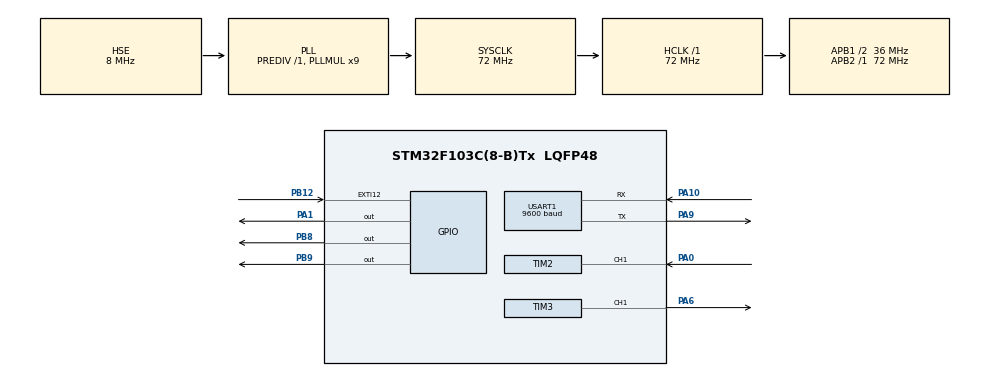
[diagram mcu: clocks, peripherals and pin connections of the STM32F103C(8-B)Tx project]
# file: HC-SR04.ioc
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Mcu.Family=STM32F1
Mcu.Name=STM32F103C(8-B)Tx
Mcu.Package=LQFP48
NVIC.EXTI15_10_IRQn=true\:0\:0\:false\:false\:true\:true\:true\:true
NVIC.PriorityGroup=NVIC_PRIORITYGROUP_4
NVIC.TIM2_IRQn=true\:0\:0\:false\:false\:true\:true\:true\:true
PA0-WKUP.Signal=S_TIM2_CH1_ETR
PA1.GPIO_ModeDefaultOutputPP=GPIO_MODE_OUTPUT_PP
PA1.Signal=GPIO_Output
PA10.Mode=Asynchronous
PA10.Signal=USART1_RX
PA13.Mode=Serial_Wire
PA13.Signal=SYS_JTMS-SWDIO
PA14.Mode=Serial_Wire
PA14.Signal=SYS_JTCK-SWCLK
PA6.Signal=S_TIM3_CH1
PA9.Mode=Asynchronous
PA9.Signal=USART1_TX
PB12.GPIO_ModeDefaultEXTI=GPIO_MODE_IT_RISING_FALLING
PB12.GPIO_PuPd=GPIO_PULLDOWN
PB12.Signal=GPXTI12
PB8.GPIO_ModeDefaultOutputPP=GPIO_MODE_OUTPUT_OD
PB8.GPIO_PuPd=GPIO_NOPULL
PB8.Signal=GPIO_Output
PB9.GPIO_ModeDefaultOutputPP=GPIO_MODE_OUTPUT_OD
PB9.GPIO_PuPd=GPIO_NOPULL
PB9.Signal=GPIO_Output
PD0-OSC_IN.Mode=HSE-External-Oscillator
PD0-OSC_IN.Signal=RCC_OSC_IN
PD1-OSC_OUT.Mode=HSE-External-Oscillator
PD1-OSC_OUT.Signal=RCC_OSC_OUT
ProjectManager.HeapSize=0x200
ProjectManager.StackSize=0x400
ProjectManager.TargetToolchain=MDK-ARM V5.32
RCC.AHBFreq_Value=72000000
RCC.APB1CLKDivider=RCC_HCLK_DIV2
RCC.APB1Freq_Value=36000000
RCC.APB1TimFreq_Value=72000000
RCC.APB2Freq_Value=72000000
RCC.APB2TimFreq_Value=72000000
RCC.HCLKFreq_Value=72000000
RCC.PLLMUL=RCC_PLL_MUL9
RCC.PLLSourceVirtual=RCC_PLLSOURCE_HSE
RCC.SYSCLKFreq_VALUE=72000000
RCC.SYSCLKSource=RCC_SYSCLKSOURCE_PLLCLK
RCC.USBFreq_Value=72000000
SH.S_TIM2_CH1_ETR.0=TIM2_CH1,Input_Capture1_from_TI1
SH.S_TIM3_CH1.0=TIM3_CH1,PWM Generation1 CH1
TIM2.Channel-Input_Capture1_from_TI1=TIM_CHANNEL_1
TIM2.Channel-Input_Capture2_from_TI1_63=TIM_CHANNEL_2
TIM2.ICPolarity_CH2=TIM_INPUTCHANNELPOLARITY_FALLING
TIM2.Period=65535
TIM2.Prescaler=72-1
TIM3.Channel-PWM\ Generation1\ CH1=TIM_CHANNEL_1
TIM3.Period=120-1
TIM3.Prescaler=12000-1
USART1.BaudRate=9600
USART1.VirtualMode=VM_ASYNC
VP_TIM2_VS_ClockSourceINT.Mode=Internal
VP_TIM2_VS_indirect_ch1.Mode=Input_Capture2_from_TI1_63
VP_TIM3_VS_ClockSourceINT.Mode=Internal
board=custom

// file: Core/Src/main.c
/* USER CODE BEGIN Header */
/**
  ******************************************************************************
  * @file           : main.c
  * @brief          : Main program body
  ******************************************************************************
  * @attention
  *
  * Copyright (c) 2024 STMicroelectronics.
  * All rights reserved.
  *
  * This software is licensed under terms that can be found in the LICENSE file
  * in the root directory of this software component.
  * If no LICENSE file comes with this software, it is provided AS-IS.
  *
  ******************************************************************************
  */
/* USER CODE END Header */
#include "main.h"
#include "tim.h"
#include "usart.h"
#include "gpio.h"

/* USER CODE BEGIN Includes */
#include "HC_SR04.h"
#include "SG90.h"
#include "Key.h"
#include "OLED.h"
#include "OLED_Data.h"

/* USER CODE END Includes */

void SystemClock_Config(void);

int main(void)
{

  /* MCU Configuration--------------------------------------------------------*/

  /* Reset of all peripherals, Initializes the Flash interface and the Systick. */
  HAL_Init();

  /* Configure the system clock */
  SystemClock_Config();

  /* Initialize all configured peripherals */
  MX_GPIO_Init();
  MX_TIM2_Init();
  MX_USART1_UART_Init();
  MX_TIM3_Init();
  /* USER CODE BEGIN 2 */
	OLED_Init();
	HAL_TIM_Base_Start(&htim2);
	HAL_TIM_IC_Start_IT(&htim2, TIM_CHANNEL_1);
	HAL_TIM_IC_Start_IT(&htim2, TIM_CHANNEL_2);
	HAL_TIM_PWM_Start(&htim3, TIM_CHANNEL_1);
	uint32_t angle = 0;
  /* USER CODE END 2 */

  /* Infinite loop */
  /* USER CODE BEGIN WHILE */
  while (1)
  {

		if (Ultrasonic_Ranging() < 10)
		{
			angle += 90;
			if (angle == 270) angle = 0;
			OLED_Printf(0, 0, 8, "Warning");
		}
		SteeringEngine_Control(angle);
		OLED_Update();
		HAL_Delay(100);
		OLED_Clear();

    /* USER CODE END WHILE */

  }
}

void SystemClock_Config(void)
{
  RCC_OscInitTypeDef RCC_OscInitStruct = {0};
  RCC_ClkInitTypeDef RCC_ClkInitStruct = {0};

  /** Initializes the RCC Oscillators according to the specified parameters
  * in the RCC_OscInitTypeDef structure.
  */
  RCC_OscInitStruct.OscillatorType = RCC_OSCILLATORTYPE_HSE;
  RCC_OscInitStruct.HSEState = RCC_HSE_ON;
  RCC_OscInitStruct.HSEPredivValue = RCC_HSE_PREDIV_DIV1;
  RCC_OscInitStruct.HSIState = RCC_HSI_ON;
  RCC_OscInitStruct.PLL.PLLState = RCC_PLL_ON;
  RCC_OscInitStruct.PLL.PLLSource = RCC_PLLSOURCE_HSE;
  RCC_OscInitStruct.PLL.PLLMUL = RCC_PLL_MUL9;
  if (HAL_RCC_OscConfig(&RCC_OscInitStruct) != HAL_OK)
  {
    Error_Handler();
  }

  /** Initializes the CPU, AHB and APB buses clocks
  */
  RCC_ClkInitStruct.ClockType = RCC_CLOCKTYPE_HCLK|RCC_CLOCKTYPE_SYSCLK
                              |RCC_CLOCKTYPE_PCLK1|RCC_CLOCKTYPE_PCLK2;
  RCC_ClkInitStruct.SYSCLKSource = RCC_SYSCLKSOURCE_PLLCLK;
  RCC_ClkInitStruct.AHBCLKDivider = RCC_SYSCLK_DIV1;
  RCC_ClkInitStruct.APB1CLKDivider = RCC_HCLK_DIV2;
  RCC_ClkInitStruct.APB2CLKDivider = RCC_HCLK_DIV1;

  if (HAL_RCC_ClockConfig(&RCC_ClkInitStruct, FLASH_LATENCY_2) != HAL_OK)
  {
    Error_Handler();
  }
}

void Error_Handler(void)
{
  __disable_irq();
  while (1)
  {
  }
}
